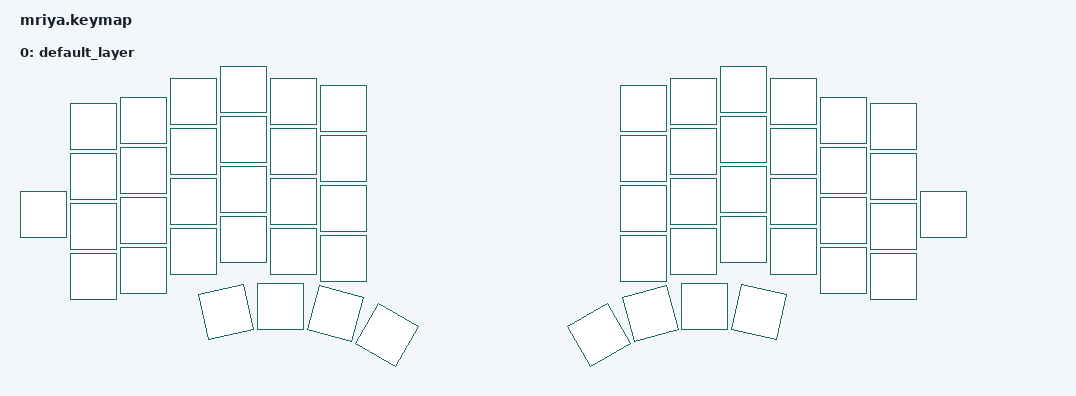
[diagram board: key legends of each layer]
/*
 * Copyright (c) 2023 Andrei Gaevskii
 *
 * SPDX-License-Identifier: MIT
 */

#include <behaviors.dtsi>
#include <dt-bindings/zmk/keys.h>
#include <dt-bindings/zmk/bt.h>

&lt {
    quick_tap_ms = <200>;
};

&mt {
    quick_tap_ms = <200>;
};

/ {
    keymap {
        compatible = "zmk,keymap";

        default_layer {
            bindings = <
            &none         &none         &none         &none         &none         &none           &none         &none         &none         &none         &none        &none
     &none  &none         &none         &none         &none         &none         &none           &none         &none         &none         &none         &none        &none  &none
            &none         &none         &none         &none         &none         &none           &none         &none         &none         &none         &none        &none
            &none         &none         &none         &none         &none         &none           &none         &none         &none         &none         &none        &none
                                        &none         &none         &none         &none           &none         &none         &none         &none
            >;
        };
    };
};
